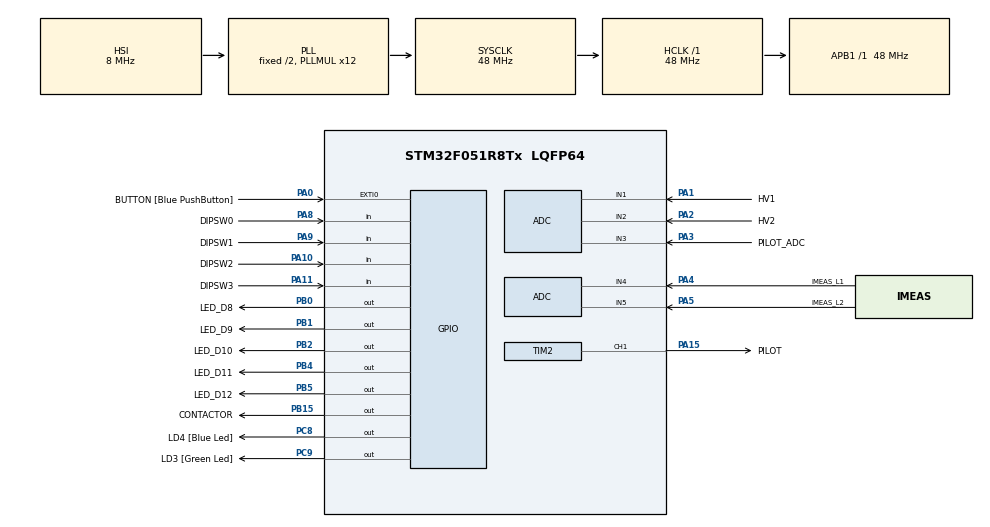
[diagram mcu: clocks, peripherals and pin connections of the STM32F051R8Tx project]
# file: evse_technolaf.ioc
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ADC.ContinuousConvMode=ENABLE
ADC.DMAContinuousRequests=ENABLE
ADC.EOCSelection=ADC_EOC_SEQ_CONV
ADC.SamplingTime=ADC_SAMPLETIME_13CYCLES_5
Dma.ADC.0.Direction=DMA_PERIPH_TO_MEMORY
Dma.ADC.0.Instance=DMA1_Channel1
Dma.ADC.0.MemDataAlignment=DMA_MDATAALIGN_WORD
Dma.ADC.0.MemInc=DMA_MINC_ENABLE
Dma.ADC.0.Mode=DMA_CIRCULAR
Dma.ADC.0.PeriphDataAlignment=DMA_PDATAALIGN_WORD
Dma.ADC.0.PeriphInc=DMA_PINC_DISABLE
Dma.ADC.0.Priority=DMA_PRIORITY_LOW
Dma.Request0=ADC
FREERTOS.Tasks01=Check,0,128,StartCheckTask,Default,NULL,Dynamic,NULL,NULL;Pilot,0,128,StartTaskPilot,Default,NULL,Dynamic,NULL,NULL;MainTask,-3,128,StartTaskMainTask,Default,NULL,Dynamic,NULL,NULL
FREERTOS.configTICK_RATE_HZ=733
Mcu.Family=STM32F0
Mcu.Name=STM32F051R8Tx
Mcu.Package=LQFP64
NVIC.DMA1_Channel1_IRQn=true\:3\:0\:false\:false\:true\:true\:false\:true
NVIC.TIM1_BRK_UP_TRG_COM_IRQn=true\:0\:0\:false\:false\:true\:false\:false\:true
NVIC.TimeBase=TIM1_BRK_UP_TRG_COM_IRQn
NVIC.TimeBaseIP=TIM1
PA0.GPIO_Label=BUTTON [Blue PushButton]
PA0.GPIO_ModeDefaultEXTI=GPIO_MODE_EVT_RISING
PA0.Signal=GPXTI0
PA1.GPIO_Label=HV1
PA1.Mode=IN1
PA1.Signal=ADC_IN1
PA10.GPIO_Label=DIPSW2
PA10.GPIO_PuPd=GPIO_PULLUP
PA10.Signal=GPIO_Input
PA11.GPIO_Label=DIPSW3
PA11.GPIO_PuPd=GPIO_PULLUP
PA11.Signal=GPIO_Input
PA13.GPIO_Label=SWDIO
PA13.Mode=Serial_Wire
PA13.Signal=SYS_SWDIO
PA14.GPIO_Label=SWCLK
PA14.Mode=Serial_Wire
PA14.Signal=SYS_SWCLK
PA15.GPIO_Label=PILOT
PA15.Signal=S_TIM2_CH1_ETR
PA2.GPIO_Label=HV2
PA2.Mode=IN2
PA2.Signal=ADC_IN2
PA3.GPIO_Label=PILOT_ADC
PA3.Mode=IN3
PA3.Signal=ADC_IN3
PA4.GPIO_Label=IMEAS_L1
PA4.Mode=IN4
PA4.Signal=ADC_IN4
PA5.GPIO_Label=IMEAS_L2
PA5.Mode=IN5
PA5.Signal=ADC_IN5
PA8.GPIO_Label=DIPSW0
PA8.GPIO_PuPd=GPIO_PULLUP
PA8.Signal=GPIO_Input
PA9.GPIO_Label=DIPSW1
PA9.GPIO_PuPd=GPIO_PULLUP
PA9.Signal=GPIO_Input
PB0.GPIO_Label=LED_D8
PB0.Signal=GPIO_Output
PB1.GPIO_Label=LED_D9
PB1.Signal=GPIO_Output
PB15.GPIO_Label=CONTACTOR
PB15.Signal=GPIO_Output
PB2.GPIO_Label=LED_D10
PB2.Signal=GPIO_Output
PB4.GPIO_Label=LED_D11
PB4.Signal=GPIO_Output
PB5.GPIO_Label=LED_D12
PB5.Signal=GPIO_Output
PC8.GPIO_Label=LD4 [Blue Led]
PC8.Signal=GPIO_Output
PC9.GPIO_Label=LD3 [Green Led]
PC9.Signal=GPIO_Output
ProjectManager.HeapSize=0x200
ProjectManager.StackSize=0x400
ProjectManager.TargetToolchain=TrueSTUDIO
RCC.AHBFreq_Value=48000000
RCC.APB1Freq_Value=48000000
RCC.APB1TimFreq_Value=48000000
RCC.HCLKFreq_Value=48000000
RCC.PLLMUL=RCC_PLL_MUL12
RCC.SYSCLKFreq_VALUE=48000000
RCC.SYSCLKSource=RCC_SYSCLKSOURCE_PLLCLK
SH.S_TIM2_CH1_ETR.0=TIM2_CH1,PWM Generation1 CH1
TIM2.Channel-PWM\ Generation1\ CH1=TIM_CHANNEL_1
TIM2.Period=48000
VP_FREERTOS_VS_CMSIS_V1.Mode=CMSIS_V1
VP_SYS_VS_tim1.Mode=TIM1
VP_TIM2_VS_ClockSourceINT.Mode=Internal
board=STM32F0DISCOVERY

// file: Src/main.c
/* USER CODE BEGIN Header */
/**
  ******************************************************************************
  * @file           : main.c
  * @brief          : Main program body
  ******************************************************************************
  * @attention
  *
  * <h2><center>&copy; Copyright (c) 2019 STMicroelectronics.
  * All rights reserved.</center></h2>
  *
  * This software component is licensed by ST under BSD 3-Clause license,
  * the "License"; You may not use this file except in compliance with the
  * License. You may obtain a copy of the License at:
  *                        opensource.org/licenses/BSD-3-Clause
  *
  ******************************************************************************
  */
/* USER CODE END Header */

#include "main.h"
#include "cmsis_os.h"
#include "adc.h"
#include "dma.h"
#include "tim.h"
#include "gpio.h"

/* USER CODE BEGIN Includes */
//copy these lines at the top of arm_math.h (CubeMX bug)
//#include <stdint.h>
//#define __INLINE inline
//#define ARM_MATH_CM0
/* USER CODE END Includes */

void SystemClock_Config(void);
void MX_FREERTOS_Init(void);

int main(void)
{

  /* MCU Configuration--------------------------------------------------------*/

  /* Reset of all peripherals, Initializes the Flash interface and the Systick. */
  HAL_Init();

  /* Configure the system clock */
  SystemClock_Config();

  /* Initialize all configured peripherals */
  MX_GPIO_Init();
  MX_DMA_Init();
  MX_ADC_Init();
  MX_TIM2_Init();

  /* Call init function for freertos objects (in freertos.c) */
  MX_FREERTOS_Init();

  /* Start scheduler */
  osKernelStart();

  /* We should never get here as control is now taken by the scheduler */

  /* Infinite loop */
  while (1)
  {

  }
}

void SystemClock_Config(void)
{
  RCC_OscInitTypeDef RCC_OscInitStruct = {0};
  RCC_ClkInitTypeDef RCC_ClkInitStruct = {0};

  /** Initializes the CPU, AHB and APB busses clocks
  */
  RCC_OscInitStruct.OscillatorType = RCC_OSCILLATORTYPE_HSI|RCC_OSCILLATORTYPE_HSI14;
  RCC_OscInitStruct.HSIState = RCC_HSI_ON;
  RCC_OscInitStruct.HSI14State = RCC_HSI14_ON;
  RCC_OscInitStruct.HSICalibrationValue = RCC_HSICALIBRATION_DEFAULT;
  RCC_OscInitStruct.HSI14CalibrationValue = 16;
  RCC_OscInitStruct.PLL.PLLState = RCC_PLL_ON;
  RCC_OscInitStruct.PLL.PLLSource = RCC_PLLSOURCE_HSI;
  RCC_OscInitStruct.PLL.PLLMUL = RCC_PLL_MUL12;
  RCC_OscInitStruct.PLL.PREDIV = RCC_PREDIV_DIV1;
  if (HAL_RCC_OscConfig(&RCC_OscInitStruct) != HAL_OK)
  {
    Error_Handler();
  }
  /** Initializes the CPU, AHB and APB busses clocks
  */
  RCC_ClkInitStruct.ClockType = RCC_CLOCKTYPE_HCLK|RCC_CLOCKTYPE_SYSCLK
                              |RCC_CLOCKTYPE_PCLK1;
  RCC_ClkInitStruct.SYSCLKSource = RCC_SYSCLKSOURCE_PLLCLK;
  RCC_ClkInitStruct.AHBCLKDivider = RCC_SYSCLK_DIV1;
  RCC_ClkInitStruct.APB1CLKDivider = RCC_HCLK_DIV1;

  if (HAL_RCC_ClockConfig(&RCC_ClkInitStruct, FLASH_LATENCY_1) != HAL_OK)
  {
    Error_Handler();
  }
}

void HAL_TIM_PeriodElapsedCallback(TIM_HandleTypeDef *htim)
{
  if (htim->Instance == TIM1) {
    HAL_IncTick();
  }
}

void Error_Handler(void)
{
}

/************************ (C) COPYRIGHT STMicroelectronics *****END OF FILE****/

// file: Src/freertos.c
/* USER CODE BEGIN Header */
/**
  ******************************************************************************
  * File Name          : freertos.c
  * Description        : Code for freertos applications
  ******************************************************************************
  * @attention
  *
  * <h2><center>&copy; Copyright (c) 2019 STMicroelectronics.
  * All rights reserved.</center></h2>
  *
  * This software component is licensed by ST under Ultimate Liberty license
  * SLA0044, the "License"; You may not use this file except in compliance with
  * the License. You may obtain a copy of the License at:
  *                             www.st.com/SLA0044
  *
  ******************************************************************************
  */
/* USER CODE END Header */

#include "FreeRTOS.h"
#include "task.h"
#include "main.h"
#include "cmsis_os.h"

/* USER CODE BEGIN Includes */
#include "adc.h"
#include "tim.h"
#include "gpio.h"
#include <stdlib.h>
#include <math.h>
typedef enum states { PILOT_VEHICLE_NOT_DETECTED, PILOT_VEHICLE_PRESENT, PILOT_READY } PILOT_STATE;

/* USER CODE END Includes */

/* USER CODE BEGIN Variables */
static PILOT_STATE PilotState = PILOT_VEHICLE_NOT_DETECTED;
static double v_line_rms;
static double EVSECurrent = 26.0;
static uint16_t GFILevel = 0;
static double MeasuredCurrent;
/* USER CODE END Variables */
osThreadId CheckHandle;
osThreadId PilotHandle;
osThreadId MainTaskHandle;

/* USER CODE BEGIN FunctionPrototypes */
int cmpfunc (const void * a, const void * b);
/* USER CODE END FunctionPrototypes */

void StartCheckTask(void const * argument);
void StartTaskPilot(void const * argument);
void StartTaskMainTask(void const * argument);

void MX_FREERTOS_Init(void); /* (MISRA C 2004 rule 8.1) */

void MX_FREERTOS_Init(void) {

  /* Create the thread(s) */
  /* definition and creation of Check */
  osThreadDef(Check, StartCheckTask, osPriorityNormal, 0, 128);
  CheckHandle = osThreadCreate(osThread(Check), NULL);

  /* definition and creation of Pilot */
  osThreadDef(Pilot, StartTaskPilot, osPriorityNormal, 0, 128);
  PilotHandle = osThreadCreate(osThread(Pilot), NULL);

  /* definition and creation of MainTask */
  osThreadDef(MainTask, StartTaskMainTask, osPriorityIdle, 0, 128);
  MainTaskHandle = osThreadCreate(osThread(MainTask), NULL);

}

void StartCheckTask(void const * argument)
{

  /* USER CODE BEGIN StartCheckTask */
  int sample_ctr = 0;
  static const uint32_t ADC_BUFFER_SIZE = 32;
  uint16_t line1[ADC_BUFFER_SIZE];	// circular buffer that contains the adc samples in mV
  uint16_t line2[ADC_BUFFER_SIZE];	// circular buffer that contains the adc samples in mV
  uint16_t peak1;
  uint16_t peak2;

  uint16_t current[ADC_BUFFER_SIZE];	// circular buffer that contains the adc samples in mV
  uint16_t peak_current;
  uint16_t gfi[ADC_BUFFER_SIZE];	// circular buffer that contains the adc samples in mV
  uint16_t peak_gfi;

  for(int i = 0; i < ADC_BUFFER_SIZE; i++){
	  line1[i] = 0;
	  line2[i] = 0;
	  gfi[i] = 0;
	  current[i] = 0;
  }

  // ADC sample period

  /* Infinite loop */
  for(;;)
  {
    osDelay(2);

    line1[sample_ctr % ADC_BUFFER_SIZE] = read_line1_voltage();
	line2[sample_ctr % ADC_BUFFER_SIZE] = read_line2_voltage();
	current[sample_ctr % ADC_BUFFER_SIZE] = read_current();
	gfi[sample_ctr % ADC_BUFFER_SIZE] = read_gfi();
	sample_ctr++;

	// find peaks
	peak1 = 0;
	peak2 = 0;
	peak_current = 0;
	peak_gfi = 0;
	for(int i = 0; i < ADC_BUFFER_SIZE; i++){
		if(line1[i] > peak1) {
			peak1 = line1[i];
		}
		if(line2[i] > peak2) {
			peak2 = line2[i];
		}
		if(current[i] > peak_current) {
			peak_current = current[i];
		}
		if(gfi[i] > peak_gfi) {
			peak_gfi = gfi[i];
		}
	}

	// voltage is sum of line1 and line2

	// 500 is to remove the diode voltage drop
	// when input voltage is 0, the capacitor is getting charged by the leakage
	// current of the adc pin (about 0.5 uA) so the voltage measured is about 500 mV
	// so we consider that there is no voltage below 700 mV
	peak1 = (peak1 > 700) ? peak1 - 500 : 0;
	peak2 = (peak2 > 700) ? peak2 - 500 : 0;

	v_line_rms = (double)(peak1 + peak2) / 5.67;
	GFILevel = peak_gfi;

	// current
	MeasuredCurrent =  exp((peak_current + 466.94) / 837.41);

  }
  /* USER CODE END StartCheckTask */
}

void StartTaskPilot(void const * argument)
{
  /* USER CODE BEGIN StartTaskPilot */

  // ADC sample period
  const uint32_t SAMPLE_PERIOD = 9;	// ms	(to be exact, it must be a multiple of 1/733)

  // minimum delay before changing the state of the pilot
  const uint32_t STATE_MIN_DELAY = 500 / SAMPLE_PERIOD; // ms / period

  // buffer to store adc samples
  static const uint32_t BUFFER_SIZE = 16;
  int samples[BUFFER_SIZE];	// circular buffer that contains the adc samples in mV
  int pilot_voltage = 0;
  int filtered = 0;

  PILOT_STATE old_state = -1;
  uint32_t time_elapsed = 0;
  uint32_t samplectr = 0;
  int32_t sum = 0;

  // init the buffer to the highest voltage (car unplugged)
  for(int i = 0; i < BUFFER_SIZE; i++){
	  samples[i] = 3000;
  }

  /* Infinite loop */
  for(;;)
  {

	osDelay(SAMPLE_PERIOD);

	time_elapsed++;

	// read adc
	pilot_voltage = (int)read_pilot_voltage();

	// take into account only samples which occurs during positive PWM
	if(pilot_voltage > 1400){
		samples[samplectr++ % BUFFER_SIZE] = pilot_voltage;

		// use an average of half of the highest samples
		qsort(samples, BUFFER_SIZE, sizeof(int), cmpfunc);
		sum = 0;
		for(int i = BUFFER_SIZE /2; i < BUFFER_SIZE; i++){
			sum += samples[i];
		}
		filtered = sum / (BUFFER_SIZE /2);
	}

	// Here we change the state according to the voltage of the
	// Pilot (seen by the MCU)
	// State A => PILOT_VEHICLE_NOT_DETECTED
	// State B => PILOT_VEHICLE_PRESENT
	// State C => PILOT_READY
	if(filtered > 1600 && filtered < 2000 && time_elapsed > STATE_MIN_DELAY){
		PilotState = PILOT_READY;
	} else if(filtered >= 2100 && filtered < 2250 && time_elapsed > STATE_MIN_DELAY){
		PilotState = PILOT_VEHICLE_PRESENT;
	} else if(filtered >= 2350 && time_elapsed > STATE_MIN_DELAY) {
		PilotState = PILOT_VEHICLE_NOT_DETECTED;
	}

	if(PilotState != old_state) {
		time_elapsed = 0;
	}
	old_state = PilotState;

  }
  /* USER CODE END StartTaskPilot */
}

void StartTaskMainTask(void const * argument)
{
  /* USER CODE BEGIN StartTaskMainTask */

  const uint32_t MAIN_TASK_PERIOD = 20;	// ms
  const uint32_t FAULT_PERSISTANCE_DELAY = 25; // multiples of MAIN_TASK_PERIOD

  uint16_t freectr = 0;
  enum states {IDLE, PRESENT, CHARGING, FAULT};
  uint8_t state = IDLE;
  BOOLEAN blinker_blue = FALSE;
  BOOLEAN blinker_green = FALSE;
  uint32_t fault_persistance = 0;
  uint32_t gfi_persistance = 0;

  adc_Start();

  // Read current from dip switches
  uint16_t code = read_dip_switch();
  if(code >= 15){
	  // default current when all dip switches open (or no dip switch installed)
	  EVSECurrent = 28.0;
  } else {
	  EVSECurrent = (code + 1) * 3.2;
  }

  // turn ON D8 ( Power present )
  set_indicator(LED_POWER, TRUE);
  // turn OFF contactor (it should be already off... just to make sure)
  set_contactor(FALSE);
  // No PWM during state A
  set_pwm(FALSE, 0.0);

  /* Infinite loop */
  for(;;)
  {
	// wait 20 ms, to let other tasks running
	osDelay(MAIN_TASK_PERIOD);
	freectr++;
    // blink blue disco led
	if(freectr % 10 == 0){
		set_indicator(LED_DISCO_BLUE, blinker_blue = !blinker_blue);
	}

	// uncomment below to test the contactor with the blue button
	// must comment all "set_contactor" later in the code
//	if(HAL_GPIO_ReadPin(BUTTON_GPIO_Port, BUTTON_Pin) == GPIO_PIN_SET){
//		set_contactor(TRUE);
//		set_indicator(LED_DISCO_GREEN, TRUE);
//	} else {
//		set_contactor(FALSE);
//		set_indicator(LED_DISCO_GREEN, FALSE);
//	}

	// Handle ground fault detection
	// the GFI Level must be above the noise floor
	// and this threshold has been tested to detect a 6.6 kohm to ground leak
	if(GFILevel > 300){
		if(gfi_persistance < FAULT_PERSISTANCE_DELAY){
			gfi_persistance++;
		} else {
			state = FAULT;
		}
	} else {
		gfi_persistance = 0;
	}

	// Main state machine
	// IDLE => no car is plugged
	// PRESENT => A car has been plugged in and we now publish the max current through the pilot signal and the contactor is closed
	// CHARGING => The car is pulling current from the station
	// FAULT => A problem has been detected and the contactor is open
	//          To recover, mains has to be switched OFF and ON again
	//   Possible problems are:
	//     - ground fault
	//     - overcurrent
	//     - overvoltage
	//	   - undervoltage (from mains or contactor failed open)
	//     - contactor sticked (voltage has been detected but the contactor should be open)

    switch(state){
    case IDLE:

    	// turn OFF debug led green
    	set_indicator(LED_DISCO_GREEN, FALSE);
    	// turn OFF contactor
    	set_contactor(FALSE);
    	// turn ON D9 (Ready to charge indicator)
    	set_indicator(LED_READY, TRUE);
    	// turn ON D10 (Connected vehicle indicator)
    	set_indicator(LED_CONNECTED, FALSE);
    	// turn OFF D11 (Vehicle charging indicator)
		set_indicator(LED_CHARGING, FALSE);
    	// turn OFF D12 (Trouble indicator)
		set_indicator(LED_FAULT, FALSE);

		// check voltage (must be low)
		if(v_line_rms > 80.0){
			fault_persistance++;
		} else {
			fault_persistance = 0;
		}

		if(fault_persistance > FAULT_PERSISTANCE_DELAY){
			state = FAULT;
		} else if(PilotState == PILOT_VEHICLE_PRESENT || PilotState == PILOT_READY){
			fault_persistance = 0;
    		state = PRESENT;
    		set_pwm(TRUE, EVSECurrent);
    	}
    	break;
    case PRESENT:
    	// turn OFF debug led green
    	set_indicator(LED_DISCO_GREEN, TRUE);
    	// turn ON contactor
    	set_contactor(TRUE);
    	// turn ON D9 (Ready to charge indicator)
    	set_indicator(LED_READY, TRUE);
    	// turn ON D10 (Connected vehicle indicator)
    	set_indicator(LED_CONNECTED, TRUE);
    	// turn OFF D11 (Vehicle charging indicator)
		set_indicator(LED_CHARGING, FALSE);
    	// turn OFF D12 (Trouble indicator)
		set_indicator(LED_FAULT, FALSE);

		// check voltage
		if(v_line_rms < 90.0 || v_line_rms > 300.00){
			fault_persistance++;
		} else {
			fault_persistance = 0;
		}

		if(fault_persistance > FAULT_PERSISTANCE_DELAY){
			state = FAULT;
		} else if(PilotState == PILOT_READY){
    		state = CHARGING;
    		fault_persistance = 0;
    	} else if(PilotState == PILOT_VEHICLE_NOT_DETECTED){
    		state = IDLE;
    		set_pwm(FALSE, 0.0);
    		fault_persistance = 0;
    	}
    	break;
    case CHARGING:
    	// blink debug led green
    	if(freectr % 20 == 0){
    		set_indicator(LED_DISCO_GREEN, blinker_green = !blinker_green);
    	}

    	// turn ON contactor
    	set_contactor(TRUE);

    	// turn ON D9 (Ready to charge indicator)
    	set_indicator(LED_READY, TRUE);
    	// turn ON D10 (Connected vehicle indicator)
    	set_indicator(LED_CONNECTED, TRUE);
    	// turn OFF D11 (Vehicle charging indicator)
		set_indicator(LED_CHARGING, TRUE);
    	// turn OFF D12 (Trouble indicator)
		set_indicator(LED_FAULT, FALSE);

		// check voltage
		if(v_line_rms < 90.0 || v_line_rms > 300.00 || MeasuredCurrent > EVSECurrent * 1.25){
			fault_persistance++;
		} else {
			fault_persistance = 0;
		}

		if(fault_persistance > FAULT_PERSISTANCE_DELAY){
			state = FAULT;
		} else if(PilotState == PILOT_VEHICLE_PRESENT){
    		state = PRESENT;
    	} else if(PilotState == PILOT_VEHICLE_NOT_DETECTED){
    		state = IDLE;
    		set_pwm(FALSE, 0.0);
    	}

    	break;
    case FAULT:
    	// turn OFF debug led green
    	set_indicator(LED_DISCO_GREEN, FALSE);
    	// turn OFF contactor
    	set_contactor(FALSE);
    	// turn ON D9 (Ready to charge indicator)
    	set_indicator(LED_READY, FALSE);
    	// turn ON D10 (Connected vehicle indicator)
    	set_indicator(LED_CONNECTED, FALSE);
    	// turn OFF D11 (Vehicle charging indicator)
		set_indicator(LED_CHARGING, FALSE);
    	// turn OFF D12 (Trouble indicator)
		set_indicator(LED_FAULT, TRUE);
    	break;
    }
  }
  /* USER CODE END StartTaskMainTask */
}

/* USER CODE BEGIN Application */
int cmpfunc (const void * a, const void * b) {
   return ( *(int*)a - *(int*)b );
}
/* USER CODE END Application */

/************************ (C) COPYRIGHT STMicroelectronics *****END OF FILE****/
